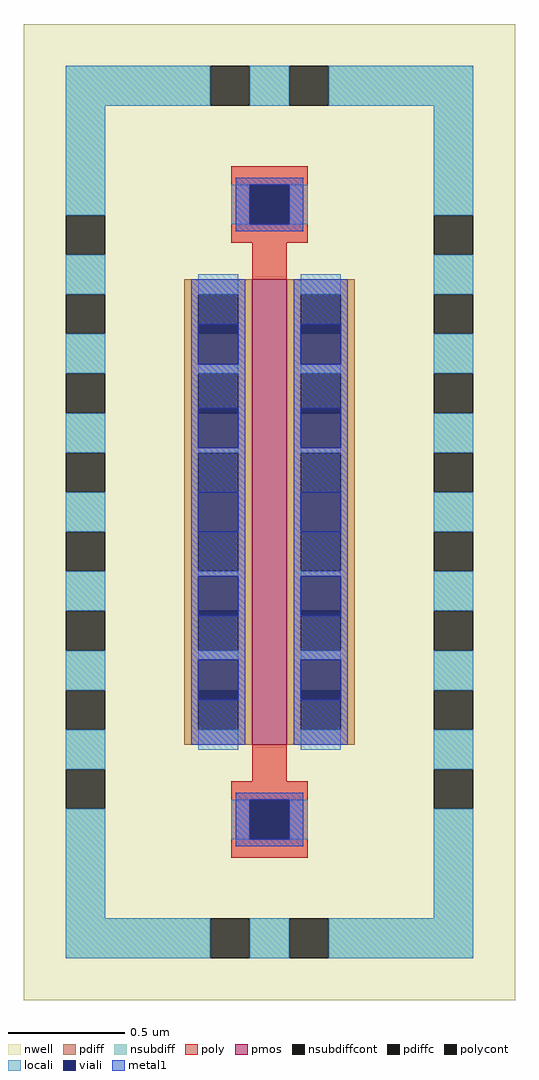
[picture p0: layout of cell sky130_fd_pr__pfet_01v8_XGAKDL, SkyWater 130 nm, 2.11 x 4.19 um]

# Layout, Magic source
magic
tech sky130A
magscale 1 2
<< nwell >>
rect -211 -419 211 419
<< pmos >>
rect -15 -200 15 200
<< pdiff >>
rect -73 187 -15 200
rect -73 153 -61 187
rect -27 153 -15 187
rect -73 119 -15 153
rect -73 85 -61 119
rect -27 85 -15 119
rect -73 51 -15 85
rect -73 17 -61 51
rect -27 17 -15 51
rect -73 -17 -15 17
rect -73 -51 -61 -17
rect -27 -51 -15 -17
rect -73 -85 -15 -51
rect -73 -119 -61 -85
rect -27 -119 -15 -85
rect -73 -153 -15 -119
rect -73 -187 -61 -153
rect -27 -187 -15 -153
rect -73 -200 -15 -187
rect 15 187 73 200
rect 15 153 27 187
rect 61 153 73 187
rect 15 119 73 153
rect 15 85 27 119
rect 61 85 73 119
rect 15 51 73 85
rect 15 17 27 51
rect 61 17 73 51
rect 15 -17 73 17
rect 15 -51 27 -17
rect 61 -51 73 -17
rect 15 -85 73 -51
rect 15 -119 27 -85
rect 61 -119 73 -85
rect 15 -153 73 -119
rect 15 -187 27 -153
rect 61 -187 73 -153
rect 15 -200 73 -187
<< pdiffc >>
rect -61 153 -27 187
rect -61 85 -27 119
rect -61 17 -27 51
rect -61 -51 -27 -17
rect -61 -119 -27 -85
rect -61 -187 -27 -153
rect 27 153 61 187
rect 27 85 61 119
rect 27 17 61 51
rect 27 -51 61 -17
rect 27 -119 61 -85
rect 27 -187 61 -153
<< nsubdiff >>
rect -175 349 -51 383
rect -17 349 17 383
rect 51 349 175 383
rect -175 255 -141 349
rect 141 255 175 349
rect -175 187 -141 221
rect -175 119 -141 153
rect -175 51 -141 85
rect -175 -17 -141 17
rect -175 -85 -141 -51
rect -175 -153 -141 -119
rect -175 -221 -141 -187
rect 141 187 175 221
rect 141 119 175 153
rect 141 51 175 85
rect 141 -17 175 17
rect 141 -85 175 -51
rect 141 -153 175 -119
rect 141 -221 175 -187
rect -175 -349 -141 -255
rect 141 -349 175 -255
rect -175 -383 -51 -349
rect -17 -383 17 -349
rect 51 -383 175 -349
<< nsubdiffcont >>
rect -51 349 -17 383
rect 17 349 51 383
rect -175 221 -141 255
rect 141 221 175 255
rect -175 153 -141 187
rect -175 85 -141 119
rect -175 17 -141 51
rect -175 -51 -141 -17
rect -175 -119 -141 -85
rect -175 -187 -141 -153
rect 141 153 175 187
rect 141 85 175 119
rect 141 17 175 51
rect 141 -51 175 -17
rect 141 -119 175 -85
rect 141 -187 175 -153
rect -175 -255 -141 -221
rect 141 -255 175 -221
rect -51 -383 -17 -349
rect 17 -383 51 -349
<< poly >>
rect -33 281 33 297
rect -33 247 -17 281
rect 17 247 33 281
rect -33 231 33 247
rect -15 200 15 231
rect -15 -231 15 -200
rect -33 -247 33 -231
rect -33 -281 -17 -247
rect 17 -281 33 -247
rect -33 -297 33 -281
<< polycont >>
rect -17 247 17 281
rect -17 -281 17 -247
<< locali >>
rect -175 349 -51 383
rect -17 349 17 383
rect 51 349 175 383
rect -175 255 -141 349
rect -33 247 -17 281
rect 17 247 33 281
rect 141 255 175 349
rect -175 187 -141 221
rect -175 119 -141 153
rect -175 51 -141 85
rect -175 -17 -141 17
rect -175 -85 -141 -51
rect -175 -153 -141 -119
rect -175 -221 -141 -187
rect -61 187 -27 204
rect -61 119 -27 127
rect -61 51 -27 55
rect -61 -55 -27 -51
rect -61 -127 -27 -119
rect -61 -204 -27 -187
rect 27 187 61 204
rect 27 119 61 127
rect 27 51 61 55
rect 27 -55 61 -51
rect 27 -127 61 -119
rect 27 -204 61 -187
rect 141 187 175 221
rect 141 119 175 153
rect 141 51 175 85
rect 141 -17 175 17
rect 141 -85 175 -51
rect 141 -153 175 -119
rect 141 -221 175 -187
rect -175 -349 -141 -255
rect -33 -281 -17 -247
rect 17 -281 33 -247
rect 141 -349 175 -255
rect -175 -383 -51 -349
rect -17 -383 17 -349
rect 51 -383 175 -349
<< viali >>
rect -17 247 17 281
rect -61 153 -27 161
rect -61 127 -27 153
rect -61 85 -27 89
rect -61 55 -27 85
rect -61 -17 -27 17
rect -61 -85 -27 -55
rect -61 -89 -27 -85
rect -61 -153 -27 -127
rect -61 -161 -27 -153
rect 27 153 61 161
rect 27 127 61 153
rect 27 85 61 89
rect 27 55 61 85
rect 27 -17 61 17
rect 27 -85 61 -55
rect 27 -89 61 -85
rect 27 -153 61 -127
rect 27 -161 61 -153
rect -17 -281 17 -247
<< metal1 >>
rect -29 281 29 287
rect -29 247 -17 281
rect 17 247 29 281
rect -29 241 29 247
rect -67 161 -21 200
rect -67 127 -61 161
rect -27 127 -21 161
rect -67 89 -21 127
rect -67 55 -61 89
rect -27 55 -21 89
rect -67 17 -21 55
rect -67 -17 -61 17
rect -27 -17 -21 17
rect -67 -55 -21 -17
rect -67 -89 -61 -55
rect -27 -89 -21 -55
rect -67 -127 -21 -89
rect -67 -161 -61 -127
rect -27 -161 -21 -127
rect -67 -200 -21 -161
rect 21 161 67 200
rect 21 127 27 161
rect 61 127 67 161
rect 21 89 67 127
rect 21 55 27 89
rect 61 55 67 89
rect 21 17 67 55
rect 21 -17 27 17
rect 61 -17 67 17
rect 21 -55 67 -17
rect 21 -89 27 -55
rect 61 -89 67 -55
rect 21 -127 67 -89
rect 21 -161 27 -127
rect 61 -161 67 -127
rect 21 -200 67 -161
rect -29 -247 29 -241
rect -29 -281 -17 -247
rect 17 -281 29 -247
rect -29 -287 29 -281
<< properties >>
string FIXED_BBOX -158 -366 158 366
<< end >>
